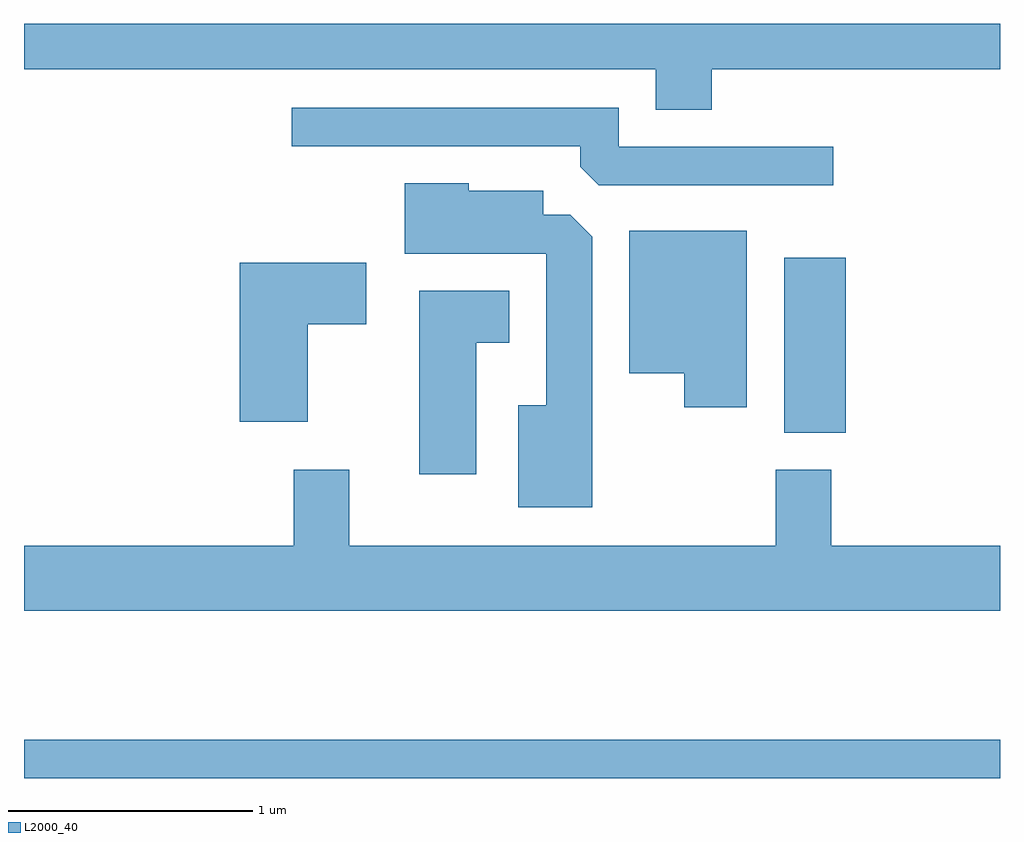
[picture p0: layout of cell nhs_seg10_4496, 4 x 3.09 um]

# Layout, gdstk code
import gdstk
lib = gdstk.Library(unit=1e-6, precision=1e-09)
def R(c, l, rs):  # rectangles x0, y0, x1, y1
    for r in rs: c.add(gdstk.rectangle(r[:2], r[2:], *l))
def P(c, l, *ps):  # polygons
    for p in ps: c.add(gdstk.Polygon(p, *l))
L2000_40 = (2000, 40)

nhs_seg10_4496 = lib.new_cell('nhs_seg10_4496')
R(nhs_seg10_4496, L2000_40, [(317.611,2135.431,321.611,2135.589), (320.726,2136.846,320.979,2137.564)])
P(nhs_seg10_4496, L2000_40, [(320.429,2138.336),(321.611,2138.336),(321.611,2138.522),(317.611,2138.522),(317.611,2138.336),(320.201,2138.336),(320.201,2138.171),(320.429,2138.171)],
  [(320.928,2138.019),(320.049,2138.019),(320.049,2138.179),(318.708,2138.179),(318.708,2138.021),(319.891,2138.021),(319.891,2137.937),(319.967,2137.861),(320.928,2137.861)],
  [(319.939,2137.649),(319.849,2137.739),(319.739,2137.739),(319.739,2137.839),(319.434,2137.839),(319.434,2137.869),(319.171,2137.869),(319.171,2137.581),(319.751,2137.581),(319.751,2136.959),(319.636,2136.959),(319.636,2136.541),(319.939,2136.541)],
  [(320.574,2137.674),(320.091,2137.674),(320.091,2137.091),(320.316,2137.091),(320.316,2136.951),(320.574,2136.951)],
  [(318.774,2137.291),(319.014,2137.291),(319.014,2137.544),(318.496,2137.544),(318.496,2136.891),(318.774,2136.891)],
  [(319.464,2137.216),(319.599,2137.216),(319.599,2137.429),(319.231,2137.429),(319.231,2136.676),(319.464,2136.676)],
  [(321.611,2136.384),(320.919,2136.384),(320.919,2136.694),(320.691,2136.694),(320.691,2136.384),(318.944,2136.384),(318.944,2136.694),(318.716,2136.694),(318.716,2136.384),(317.611,2136.384),(317.611,2136.116),(321.611,2136.116)])

lib.write_gds('nhs_seg10_4496.gds')
